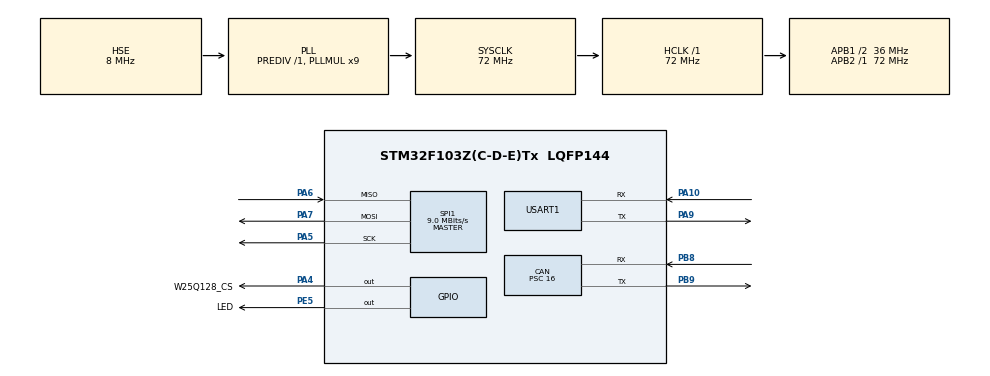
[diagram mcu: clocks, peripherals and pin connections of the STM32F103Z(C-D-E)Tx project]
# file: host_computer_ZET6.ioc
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CAN.ABOM=ENABLE
CAN.BS1=CAN_BS1_15TQ
CAN.BS2=CAN_BS2_2TQ
CAN.CalculateBaudRate=125000
CAN.CalculateTimeBit=8000
CAN.CalculateTimeQuantum=444.44444444444446
CAN.Mode=CAN_MODE_NORMAL
CAN.NART=ENABLE
CAN.Prescaler=16
CAN.RFLM=ENABLE
Dma.Request0=USART1_RX
Dma.USART1_RX.0.Direction=DMA_PERIPH_TO_MEMORY
Dma.USART1_RX.0.Instance=DMA1_Channel5
Dma.USART1_RX.0.MemDataAlignment=DMA_MDATAALIGN_BYTE
Dma.USART1_RX.0.MemInc=DMA_MINC_ENABLE
Dma.USART1_RX.0.Mode=DMA_CIRCULAR
Dma.USART1_RX.0.PeriphDataAlignment=DMA_PDATAALIGN_BYTE
Dma.USART1_RX.0.PeriphInc=DMA_PINC_DISABLE
Dma.USART1_RX.0.Priority=DMA_PRIORITY_LOW
Mcu.Family=STM32F1
Mcu.Name=STM32F103Z(C-D-E)Tx
Mcu.Package=LQFP144
NVIC.CAN1_SCE_IRQn=true\:0\:0\:false\:false\:true\:true\:true\:true
NVIC.DMA1_Channel5_IRQn=true\:0\:0\:false\:false\:true\:false\:true\:true
NVIC.PriorityGroup=NVIC_PRIORITYGROUP_4
NVIC.USART1_IRQn=true\:0\:0\:false\:false\:true\:true\:true\:true
NVIC.USB_LP_CAN1_RX0_IRQn=true\:0\:0\:false\:false\:true\:true\:true\:true
OSC_IN.Mode=HSE-External-Oscillator
OSC_IN.Signal=RCC_OSC_IN
OSC_OUT.Mode=HSE-External-Oscillator
OSC_OUT.Signal=RCC_OSC_OUT
PA10.GPIO_PuPd=GPIO_PULLUP
PA10.Mode=Asynchronous
PA10.Signal=USART1_RX
PA13.Mode=Serial_Wire
PA13.Signal=SYS_JTMS-SWDIO
PA14.Mode=Serial_Wire
PA14.Signal=SYS_JTCK-SWCLK
PA9.Mode=Asynchronous
PA9.Signal=USART1_TX
PA4.GPIO_Label=W25Q128_CS
PA4.GPIO_PuPd=GPIO_PULLUP
PA4.GPIO_Speed=GPIO_SPEED_FREQ_HIGH
PA4.PinState=GPIO_PIN_SET
PA4.Signal=GPIO_Output
PA5.Mode=Full_Duplex_Master
PA5.Signal=SPI1_SCK
PA6.Mode=Full_Duplex_Master
PA6.Signal=SPI1_MISO
PA7.Mode=Full_Duplex_Master
PA7.Signal=SPI1_MOSI
PB8.Mode=CAN_Activate
PB8.Signal=CAN_RX
PB9.Mode=CAN_Activate
PB9.Signal=CAN_TX
PC14-OSC32_IN.Mode=LSE-External-Oscillator
PC14-OSC32_IN.Signal=RCC_OSC32_IN
PC15-OSC32_OUT.Mode=LSE-External-Oscillator
PC15-OSC32_OUT.Signal=RCC_OSC32_OUT
PE5.GPIO_Label=LED
PE5.GPIO_ModeDefaultOutputPP=GPIO_MODE_OUTPUT_PP
PE5.GPIO_PuPd=GPIO_PULLUP
PE5.GPIO_Speed=GPIO_SPEED_FREQ_LOW
PE5.PinState=GPIO_PIN_SET
PE5.Signal=GPIO_Output
ProjectManager.HeapSize=0x200
ProjectManager.StackSize=0x400
ProjectManager.TargetToolchain=CMake
RCC.AHBFreq_Value=72000000
RCC.APB1CLKDivider=RCC_HCLK_DIV2
RCC.APB1Freq_Value=36000000
RCC.APB1TimFreq_Value=72000000
RCC.APB2Freq_Value=72000000
RCC.APB2TimFreq_Value=72000000
RCC.HCLKFreq_Value=72000000
RCC.PLLMUL=RCC_PLL_MUL9
RCC.PLLSourceVirtual=RCC_PLLSOURCE_HSE
RCC.SYSCLKFreq_VALUE=72000000
RCC.SYSCLKSource=RCC_SYSCLKSOURCE_PLLCLK
RCC.USBFreq_Value=72000000
SPI1.BaudRatePrescaler=SPI_BAUDRATEPRESCALER_8
SPI1.CalculateBaudRate=9.0 MBits/s
SPI1.Direction=SPI_DIRECTION_2LINES
SPI1.Mode=SPI_MODE_MASTER
SPI1.VirtualType=VM_MASTER
USART1.VirtualMode=VM_ASYNC
board=custom

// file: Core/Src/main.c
/* USER CODE BEGIN Header */
/**
  ******************************************************************************
  * @file           : main.c
  * @brief          : Main program body
  ******************************************************************************
  * @attention
  *
  * Copyright (c) 2026 STMicroelectronics.
  * All rights reserved.
  *
  * This software is licensed under terms that can be found in the LICENSE file
  * in the root directory of this software component.
  * If no LICENSE file comes with this software, it is provided AS-IS.
  *
  ******************************************************************************
  */
/* USER CODE END Header */
#include "main.h"
#include "dma.h"
#include "spi.h"
#include "usart.h"
#include "gpio.h"
#include "can.h"            /* hcan：CAN 句柄由 CubeMX 生成，.ioc 已启用 CAN */

/* USER CODE BEGIN Includes */
#include <string.h>
#include "board.h"
#include "uart_app.h"
#include "ota_app.h"		/* 串口数据攒成 4KB 扇区后写外部 Flash */
#include "w25q.h"			/* 外部 Flash；spi.h 已由上方 CubeMX 生成区包含 */
#include "ota_slot.h"		/* 槽 A 头部：长度/CRC 在收尾时最后写入 */
#include "ota_param.h"		/* 只用来解析上位机补发的 12 字节尾部记录 */
#include "crc32.h"			/* 2026-11-26：空闲自动收尾时从 W25Q 读回数据算 CRC */
#include "ota_log.h"		/* 黑匣子：17:36 起不再记复位、也不再倒出 [log] 历史，
						   只剩接收循环里那条 OTA_MODE 事件（当前无任何地方打印它） */
#include "can_drv.h"		/* CAN：收 0x581 下位机查询 / 发 0x601 应答；阶段 1 握手 */
/* USER CODE END Includes */

/* USER CODE BEGIN PD */

/* 串口超过这么多毫秒没有新数据，就把还不足一扇区的尾巴也写进外部 Flash。
 * 否则最后一扇区（比如最后 928 字节）会永远留在 RAM 里写不下去。 */
#define OTA_IDLE_FLUSH_MS   2000U

/* ==================== CAN OTA 会话层：阶段 1 查询应答 ====================
 * 方向与 C8T6 侧对应：下位机按键后发 0x581(QUERY)，本侧收；本侧查完槽 A 后发
 * 0x601(REPLY)。两侧过滤器天然匹配（本侧只收 0x581），驱动不用改。
 * REPLY 帧：B0=0x11 B1=有/无(1/0) B2B3=长度(uint16小端) B4~B7=CRC低32位小端。
 * "有新程序"的判据：OtaSlot_ReadHeader(OTA_SLOT_A) == OTA_SLOT_OK，
 * 即上次串口收 bin 时 FinishOta 回读校验通过、槽头已写——只有完整固件才会写头。
 * 阶段 1 只报有无，不发固件、不改槽头 flags。 */
#define OTA_CAN_OP_QUERY     0x10U
#define OTA_CAN_OP_REPLY     0x11U
#define OTA_CAN_OP_UPDATE_REQ 0x12U      /* 下位机确认要这份：回显长度+CRC */
#define OTA_CAN_OP_DATA      0x13U      /* 分帧数据：B1B2=seq B3~B7=5B 数据 */
#define OTA_CAN_OP_ACK       0x14U      /* 下位机块确认：B1B2=最后 seq B3=0 正常/非0 请求停 */
#define OTA_CAN_PROTO_VER    0x01U
#define OTA_CAN_REPLY_TIMEOUT_MS  100U   /* 等邮箱腾空；无 ACK 时不让主循环卡死 */

/* 阶段 2 分帧参数：必须与 C8T6 侧 main.c 逐字一致，否则双方对不上 */
#define OTA_CAN_DATA_BYTES   5U         /* DATA 帧载荷：B3~B7 */
#define OTA_CAN_BLOCK_FRAMES 16U        /* 每 16 帧等一次 ACK；给下位机留出擦写空窗 */
#define OTA_CAN_ACK_TIMEOUT_MS 1500U    /* 等 ACK 超时：>下位机最坏 400ms 擦写 + 传输余量 */
#define OTA_CAN_SEND_GAP_MS  1U         /* 块内帧间延时：给下位机主循环留出取队列的时间 */

/* 上位机发送状态机：IDLE -> SENDING(正在分帧发槽 A) */
#define OTA_TX_ST_IDLE       0U
#define OTA_TX_ST_SENDING    1U

/* 2026-11-26：CAN 周期测试帧已整体移除（宏、序号变量、主循环发送段）。
 * 原因：用户要求不再持续发送——1Hz 测试帧会一直占用总线、持续刷串口日志，
 *       干扰后续的串口落盘观察。物理层已在 11-25 22:05 验证通过（125k，ESR=0），
 *       不再需要常驻心跳。
 * 副作用/注意：CanDrv_Send() 与 CAN 初始化仍保留，外设停在就绪态；
 *             以后需要发帧时由调用方显式给超时参数，不依赖这里的宏。 */

/* 2026-11-25 17:36：复位原因快照（RST_CAUSE_* 宏、s_rst_cause、ResetCause_Snapshot()）
   全部删除。用户要求"不记录复位记录"，而这些代码的唯一用途就是给黑匣子填一笔
   RST_* 事件 + 开机打 [rst] 行；两处都已去掉，留着只会变成死代码/未使用警告。
   副作用：RCC->CSR 的复位标志不再被清除，也无人读取——对运行没有任何影响
   （标志只是累积在原地）。以后若要恢复"看复位原因"，得从 RCC->CSR 重新取。 */

/* USER CODE END PD */

/* USER CODE BEGIN PV */
/* 从串口取数据的临时区。放静态区：512 字节压栈太靠近 1KB 栈底。
   攒扇区缓冲已经搬进 ota_app.c，main 里不再需要 s_page。 */
static uint8_t s_rx[512];

/* 2026-11-25：本次上电是否已经开始接收。第一包数据到达时才擦槽 A 头部，
   这样"没收到新数据"时，上次保存好的槽 A 内容不会被开机动作破坏，
   后续才能经 CAN 把已存内容发出去。 */
static uint8_t s_ota_started = 0U;

/* 2026-11-26：本次上电是否已经"收尾"过（收到合法 OTAE 尾部 / 空闲自动写槽头，二者其一）。
   为什么要它：串口助手认不出 ZET6 的 [recv] 就绪日志，会判成老协议而不发 12 字节尾部；
   空闲自动收尾是为了兜住这种情况。但一旦尾部来过，哪怕 FinishOta 校验失败，
   也不能让空闲路径把这份坏数据扶正成有效槽 —— 标志就是这两条路径的互斥锁。 */
static uint8_t s_tail_seen = 0U;

/* ===== 阶段 2：CAN 分帧发送状态（把槽 A 的 bin 发给下位机） ===== */
static uint8_t  s_tx_st = OTA_TX_ST_IDLE;     /* 发送状态 */
static uint32_t s_tx_addr;                    /* 当前读到 W25Q 的哪个地址（槽 A 数据区相对地址） */
static uint32_t s_tx_left;                    /* 还剩多少字节没发 */
static uint16_t s_tx_seq;                     /* 当前帧序号，发完自增 */
static uint16_t s_tx_total_frame;             /* 总帧数 = ceil(len/5) */
static uint16_t s_tx_block_cnt;               /* 本块已发帧数，满 16 就停下来等 ACK */
static uint32_t s_tx_ack_tick;                /* 等 ACK 的起点，超时保护 */
static uint8_t  s_tx_wait_ack;                /* 1=本块发完，正在等下位机 ACK */
/* USER CODE END PV */

void SystemClock_Config(void);

/* USER CODE BEGIN 0 */

/**
  * 函    数：FinishOta
  * 功    能：收到尾部记录后的收尾：Flush → 长度比对 → 回读校验 → 写槽 A 头部
  * 说    明：2026-11-25 改写。原来这里是"校验片内 Flash → 存参数 → 跳 App"，
  *           本工程不再跳 App，也不写片内 Flash；数据就是待发送内容，
  *           存在槽 A，头部最后写，写完这份数据就算可用。
  *           任何一步失败都 return，板子继续停在串口接收循环等重传。
  */
static void FinishOta(const OtaTail_t *tail)
{
	OtaSlotHeader_t hdr;
	int8_t          vr;

	Uart_Printf(UART_LOG, "[ota] 尾部：长度=%lu CRC=0x%08lX\r\n",
				(unsigned long)tail->length, (unsigned long)tail->crc32);

	/* 先把 RAM 里攒着的尾巴写出去。不 Flush 的话外部 Flash 里缺结尾一段，
	   下面读回来算的 CRC 必然对不上 */
	if(Ota_Flush() != OTA_OK)
	{
		Uart_Printf(UART_LOG, "[ota] 落盘失败\r\n");
		return;
	}

	if(Ota_Total() != tail->length)
	{
		Uart_Printf(UART_LOG, "[ota] 长度不符：收到 %lu，应为 %lu\r\n",
					(unsigned long)Ota_Total(),
					(unsigned long)tail->length);
		return;
	}

	/* 头部先在 RAM 里构造好，用它校验外部 Flash 里的数据区。
	   OtaSlot_VerifyData 是"读回来算"—— 能证明 SPI 写进去的内容是对的，
	   只信边收边算的 CRC 证明不了这一点。 */
	OtaSlot_BuildHeader(&hdr, 0U, tail->length, tail->crc32, 0U, 0U);
	vr = OtaSlot_VerifyData(OTA_SLOT_A, &hdr);
	if(vr != 1)
	{
		Uart_Printf(UART_LOG, "[ota] 外部 Flash 校验失败（%d）\r\n", (int)vr);
		return;
	}
	Uart_Printf(UART_LOG, "[ota] 校验通过 %luB\r\n", (unsigned long)tail->length);

	/* 头部最后写：写完它就等于"这份数据完整且校验通过"，
	   将来从 CAN 发出时可以直接拿头部里的长度/CRC */
	if(OtaSlot_WriteHeader(OTA_SLOT_A, &hdr) != OTA_SLOT_OK)
	{
		Uart_Printf(UART_LOG, "[ota] 槽 A 头部写入失败\r\n");
		return;
	}

	Uart_Printf(UART_LOG, "[ota] 槽 A 已保存：%luB CRC=0x%08lX\r\n",
				(unsigned long)tail->length, (unsigned long)tail->crc32);
}

/**
  * 函    数：HandleRx
  * 功    能：统一处理收到的一包数据
  * 返 回 值：1 = 这包是尾部记录（收尾流程已接管）
  *           0 = 普通数据，已喂给 ota_app 写外部 Flash
  */
static uint8_t HandleRx(const uint8_t *buf, uint32_t len)
{
	OtaTail_t tail;
	uint32_t  i;
	uint32_t  total = Ota_Total() + Ota_Fill();

	/* 在整个数据块里找尾部记录，而不是只看块首。
	   串口是流式的：上位机发完最后一块会紧接着发尾部，
	   一次 Uart_Read 完全可能把「末尾若干字节 + 12 字节尾部」合并成一块。
	   只看块首的话 magic 根本不在开头，这 12 字节会被当成数据写进 Flash。 */
	for(i = 0U; (i + OTA_TAIL_BYTES) <= len; i++)
	{
		/* recv_total 传 total + i：扫到第 i 字节时，这 i 字节还没落盘 */
		if(Ota_ParseTail(&buf[i], OTA_TAIL_BYTES, total + i, &tail) != 0U)
		{
			/* 2026-11-26：尾部来过就锁死空闲自动收尾，无论 FinishOta 后续成功与否。
			   否则"尾部 CRC 对不上 → FinishOta 提前 return → 2 秒空闲又把坏数据写成有效槽"，
			   等于把校验失败静默改成成功，是最危险的失效方式。 */
			s_tail_seen = 1U;

			if(i > 0U)
			{
				if(Ota_Feed(buf, i) != OTA_OK)
				{
					Uart_Printf(UART_LOG, "[ota] 尾部之前写入失败\r\n");
					return 1U;
				}
			}
			FinishOta(&tail);
			return 1U;
		}
	}

	/* 槽 A 数据区只有 508KB，越过就会踩到槽 B —— 宁可报错也不越界 */
	if((Ota_Total() + Ota_Fill() + len) > OTA_SLOT_DATA_MAX)
	{
		Uart_Printf(UART_LOG, "[ota] 溢出：%lu > %lu\r\n",
					(unsigned long)(Ota_Total() + Ota_Fill() + len),
					(unsigned long)OTA_SLOT_DATA_MAX);
		return 1U;
	}

	if(Ota_Feed(buf, len) != OTA_OK)
	{
		Uart_Printf(UART_LOG, "[ota] 写 0x%08lX 失败，累计 %lu\r\n",
					(unsigned long)Ota_Addr(), (unsigned long)Ota_Total());
	}
	return 0U;
}

/**
 * 函    数：CalcSlotDataCrc —— 从 W25Q 分块读回槽数据算 CRC32
 * 参    数：addr W25Q 内部地址；len 字节数；out_crc 输出算出的 CRC32
 * 返 回 值：0 = 成功，负数 = SPI 读失败（此时 *out_crc 不可用）
 * 为什么不用 Crc32_Flash()：那函数用 *(volatile const uint8_t*)addr 直接解引用，
 *   只对能内存映射(XIP)的片内 Flash 成立。W25Q 是 SPI 外挂、不支持 XIP，
 *   OtaSlot_DataAddr() 返回的 0x001000 是 W25Q 内部地址，直接解引用读到的
 *   其实是 STM32 地址空间里别的位置（本例落在片内 Flash 别名区），
 *   算出来的 CRC 与固件内容毫无关系 —— 2026-11-26 就踩过这个坑。
 * 为什么要分块：槽最大 508KB，F103 RAM 有限，不能一次读进内存。
 *   算法与 ota_slot.c::OtaSlot_VerifyData 一致（Crc32_Update 分段累计 + 最后取反），
 *   保证这里算出的值和上位机 zlib.crc32 口径相同。
 */
static int8_t CalcSlotDataCrc(uint32_t addr, uint32_t len, uint32_t *out_crc)
{
	static uint8_t s_buf[W25Q_PAGE_SIZE];	/* 静态区不进栈，复用一块 256B */
	uint32_t crc = CRC32_INIT;
	uint32_t left = len;

	if(out_crc == NULL)
	{
		return -1;
	}
	while(left > 0U)
	{
		uint32_t chunk = (left > W25Q_PAGE_SIZE) ? W25Q_PAGE_SIZE : left;

		if(W25q_Read(addr, s_buf, chunk) != W25Q_OK)
		{
			return -1;
		}
		crc = Crc32_Update(crc, s_buf, chunk);
		addr += chunk;
		left -= chunk;
	}
	*out_crc = ~crc;	/* Crc32_Update 不做最终取反，这里补上，与 Crc32_Buf 一致 */
	return 0;
}

/**
 * 发一帧 DATA：从槽 A 的当前读位置取 5 字节，seq 填 B1B2，凑满 8 字节发出。
 * 为什么用 W25q_Read 而不是内存缓冲：槽 A 最大 508KB，RAM 放不下，只能边读边发。
 * 末帧不足 5 字节时补 0 —— 下位机按 REPLY 里的长度裁掉填充，不会多写字节。
 */
static int8_t OtaCan_SendDataFrame(uint16_t seq)
{
	uint8_t  frame[8];
	uint32_t chunk;
	int8_t   r;

	chunk = (s_tx_left > OTA_CAN_DATA_BYTES) ? OTA_CAN_DATA_BYTES : s_tx_left;

	frame[0] = OTA_CAN_OP_DATA;
	frame[1] = (uint8_t)(seq & 0xFFU);
	frame[2] = (uint8_t)((seq >> 8) & 0xFFU);
	frame[3] = 0U; frame[4] = 0U; frame[5] = 0U; frame[6] = 0U; frame[7] = 0U;

	if(chunk > 0U)
	{
		if(W25q_Read(s_tx_addr, &frame[3], chunk) != W25Q_OK)
		{
			return -1;    /* 读槽失败，绝对不能发全 0 冒充数据 */
		}
	}

	r = CanDrv_Send(CANDRV_ID_REQ, frame, (uint8_t)sizeof(frame), OTA_CAN_REPLY_TIMEOUT_MS);
	if(r != CANDRV_OK)
	{
		return r;
	}

	s_tx_addr += chunk;
	s_tx_left -= chunk;
	return CANDRV_OK;
}

/**
 * 处理一帧 ACK（由主循环的统一分发点喂进来，不在这里取队列）。
 * 为什么不能再开一个 while 取队列：CAN 只有一个接收队列，两处同时取会互相吞帧。
 * 校验 ACK 的 seq 必须是本块最后一帧，防止上一块的迟到 ACK 被误认。
 * 返回 1=正常可发下一块；-1=下位机报错中止；0=不是 ACK。
 */
static int8_t OtaCan_OnAck(const can_drv_frame_t *f)
{
	uint16_t got;

	if((f->id != CANDRV_ID_RSP) || (f->dlc < 4U) || (f->data[0] != OTA_CAN_OP_ACK))
	{
		return 0;
	}
	got = (uint16_t)((uint16_t)f->data[1] | ((uint16_t)f->data[2] << 8));
	if((f->data[3] != 0U) || (got != (uint16_t)(s_tx_seq - 1U)))
	{
		Uart_Printf(UART_LOG, "[can] ACK 异常 seq=%u err=%u，下发中止\r\n",
					(unsigned int)got, (unsigned int)f->data[3]);
		return -1;
	}
	return 1;
}

/* USER CODE END 0 */

int main(void)
{

  /* MCU Configuration--------------------------------------------------------*/

  /* Reset of all peripherals, Initializes the Flash interface and the Systick. */
  HAL_Init();

  /* Configure the system clock */
  SystemClock_Config();

  /* Initialize all configured peripherals */
  MX_GPIO_Init();
  MX_DMA_Init();
  MX_USART1_UART_Init();
  /* 2026-11-25：补上 CAN 外设初始化。漏掉时 hcan 一直停在 RESET 态，
     后面的 CanDrv_Init() 会在状态检查处直接返回 -2，日志只显示 init FAIL。 */
  MX_CAN_Init();
  /* 2026-11-25：按野火 ZET6 核心板规格书，板载 W25Q 在 SPI1(PA4~PA7)。 */
  MX_SPI1_Init();
  /* USER CODE BEGIN 2 */
  Uart_Init();

	/* 【阶段 1b】ZET6 侧 CAN 真实收发（2026-11-25 改动：由回环改为往总线发）
	   参数由 .ioc 生成（本轮 .ioc 的 CAN.Mode 已由 LOOPBACK 改成 NORMAL），
	   CanDrv_Init() 仍只做读回校验 + 配过滤器 + Start + 激活中断；
	   错误码：-2 状态 / -6 位时序 / -7 CAN RX0 中断未使能。
	   回环分支保留：将来若把 .ioc 改回 LOOPBACK（比如没有第二节点时自测），这段仍然可用。 */
	{
		int8_t cr = CanDrv_Init();

		if(cr == CANDRV_OK)
		{
			Uart_Printf(UART_LOG, "[can] init OK, %lu bps, sample %u.%u%%, %s\r\n",
						(unsigned long)CanDrv_ActualBaudrate(),
						(unsigned int)(CanDrv_ActualSamplePointPermille() / 10U),
						(unsigned int)(CanDrv_ActualSamplePointPermille() % 10U),
						(CanDrv_GetMode() == CANDRV_MODE_LOOPBACK) ? "loopback" : "normal");

			if(CanDrv_GetMode() == CANDRV_MODE_LOOPBACK)
			{
				int8_t sr = CanDrv_SelfTest();

				Uart_Printf(UART_LOG, "[can] loopback self-test %s (tx=%lu ovf=%lu err=%lu bof=%lu)\r\n",
							(sr == CANDRV_OK) ? "PASS" : "FAIL",
							(unsigned long)CanDrv_TxOkCount(),
							(unsigned long)CanDrv_RxOverflowCount(),
							(unsigned long)CanDrv_ErrorCount(),
							(unsigned long)CanDrv_BusOffCount());
			}
			else
			{
				/* Normal 模式不跑开机自测：那会发一帧已知内容等回环，真实总线上
				   没有对端配合时只会得到误导性的 FAIL。周期测试帧已于 2026-11-26 移除，
				   现在 CAN 只保持"初始化完成、随时可发"的状态，不再自动占总线。 */
				Uart_Printf(UART_LOG, "[can] normal mode: 接收就绪，不主动发帧\r\n");
			}
		}
		else
		{
			Uart_Printf(UART_LOG, "[can] init FAIL code=%d\r\n", (int)cr);
		}
	}

  // Led_Fan(1);

	/* ---------- 外部 Flash 自检 ----------
	   串口数据要落到 W25Q 槽 A，所以先确认 SPI1 链路是通的：
	   看到 0xEF4017 就说明接线/时序/片选都对。 */
	{
		uint32_t w25q_id = 0xFFFFFFFFUL;

		if(W25q_Init(&hspi1, W25Q128_CS_GPIO_Port, W25Q128_CS_Pin) == W25Q_OK)
		{
			w25q_id = W25q_ReadId();
		}
		Uart_Printf(UART_LOG, "[boot] W25Q 芯片ID=0x%06lX %s，应为 0x%06lX\r\n",
					(unsigned long)w25q_id,
					(w25q_id == W25Q_JEDEC_ID) ? "正常" : "异常",
					(unsigned long)W25Q_JEDEC_ID);
	}

	/* 2026-11-25 17:36：黑匣子的"倒出历史（[log] 最近 N 条）"与"追加本次复位事件"
	   一并删除（用户要求）。注意 ota_log 模块本身仍在编译：接收循环开始新传输时会
	   记一条 OTA_MODE 事件，只是已经没有任何地方把它打印出来了。 */

	/* 2026-11-25 17:30：槽状态只读打印（[slot] A/B + 十六进制转储）整块删除。
	   槽头部仍由 ota_slot.c 读写（FinishOta 校验/写头要用），只是开机不再刷屏。
	   要看槽内容时，收尾日志里的 [ota] 槽 A 已保存 已经带长度和 CRC。 */

	/* 2026-11-25：不再有上电窗口、不再跳 App，开机就停在接收循环。
	   Ota_Init 先设一次起点；真正开始接收时还会重设一次并擦掉旧头部。 */
	Ota_Init(OtaSlot_DataAddr(OTA_SLOT_A));

	Uart_Printf(UART_LOG, "\r\n[recv] 就绪，外部 Flash 槽A 数据起点=0x%08lX，容量=%luB，协议=2\r\n",
				(unsigned long)OtaSlot_DataAddr(OTA_SLOT_A),
				(unsigned long)OTA_SLOT_DATA_MAX);

	uint16_t len;						/* 这次从串口取到多少字节 */
	uint32_t last_rx = Board_Millis();	/* 最后一次收到数据的时刻 */

	/* 2026-11-26：can_tx_tick / can_tx_seq 随周期测试帧一并删除。
	   保留 last_rx 供串口空闲 Flush 使用。 */
  /* USER CODE END 2 */

  /* Infinite loop */
  while (1)
  {

    /* USER CODE BEGIN 3 */
	len = Uart_Read(UART_LOG, s_rx, sizeof(s_rx));	/* 取到 0 表示这段时间没有新数据 */

	if(len > 0U)
	{
		last_rx = Board_Millis();

		/* 本次上电的第一包数据 = 新一次传输开始。
		   先擦槽 A 头部让旧内容失效，再从数据区起点重写；
		   擦头部是这个流程里唯一会破坏已有数据的动作，所以只在这里做一次。 */
		if(s_ota_started == 0U)
		{
			(void)OtaSlot_EraseHeader(OTA_SLOT_A);
			Ota_Init(OtaSlot_DataAddr(OTA_SLOT_A));
			s_ota_started = 1U;
			(void)OtaLog_Append(OTA_LOG_EVT_OTA_MODE, 0U, 0U, (uint32_t)len);
			Uart_Printf(UART_LOG, "[recv] 开始接收 槽A 0x%08lX\r\n",
						(unsigned long)OtaSlot_DataAddr(OTA_SLOT_A));
		}

		/* 攒扇区 + 落盘藏在 Ota_Feed 里；先分辨这包是不是尾部记录 */
		HandleRx(s_rx, len);
	}
	else if((s_ota_started != 0U) && (s_tail_seen == 0U) &&
			(Ota_Total() > 0U) && (Timer_Timeout(&last_rx, OTA_IDLE_FLUSH_MS) != 0U))
	{
		/* 2026-11-26：空闲自动收尾（替代缺失的 OTAE 尾部记录）。
		   为什么加：串口助手靠 [ota] ready...proto=2 判协议，ZET6 打的是 [recv] 就绪，
		   匹配不上就当老协议、不发尾部，结果数据写全了却没写槽头，CAN 查询永远 reply NO。
		   2 秒无新数据就当作"这一包传完了"：先把不足一扇区的尾巴落盘，
		   再从 W25Q 读回数据算 CRC 并写槽头，效果和收到尾部记录一样。

		   触发条件为什么从 Ota_Fill()>0 改成 Ota_Total()>0：
		   最后一段若刚好凑满 4096 被 Ota_Feed 直接落盘，Ota_Fill()==0，
		   旧条件会让分支进不去、槽头漏写（偶发 reply NO，很难查）。

		   取舍（必须知道）：CRC 是"从 Flash 读回自己算"，不是上位机给的独立校验源，
		   只能证明落盘内容稳定，证明不了串口传输过程没丢字节；
		   另外传一半断线也会被当成完整固件 —— 要堵这个洞得加长度预声明。
		   2026-11-26 修复：原实现用 Crc32_Flash() 直接解引用地址算 CRC，那是给片内
		   XIP Flash 用的；W25Q 走 SPI、不支持内存映射，算出来是片内别处的 CRC
		   （实机得到 0x9C69185F，与真实 bin 的 0x91C2B6C8 不符）。改用 CalcSlotDataCrc()
		   经 W25q_Read 分块读回再算，才和上位机 zlib 口径一致。 */
		if(Ota_Flush() == OTA_OK)
		{
			uint32_t n = Ota_Total();
			uint32_t crc = 0U;
			OtaSlotHeader_t hdr;

			if(CalcSlotDataCrc(OtaSlot_DataAddr(OTA_SLOT_A), n, &crc) == 0)
			{
				OtaSlot_BuildHeader(&hdr, 0U, n, crc, 0U, 0U);
				if(OtaSlot_WriteHeader(OTA_SLOT_A, &hdr) == OTA_SLOT_OK)
				{
					Uart_Printf(UART_LOG, "[ota] 自动收尾：槽 A 已保存 %luB CRC=0x%08lX\r\n",
								(unsigned long)n, (unsigned long)crc);
				}
				else
				{
					Uart_Printf(UART_LOG, "[ota] 自动收尾：槽 A 头部写入失败\r\n");
				}
			}
			else
			{
				/* 读回失败就不写槽头：宁可 CAN 查询回"无"，也不能广播一个错 CRC */
				Uart_Printf(UART_LOG, "[ota] 自动收尾：读回 CRC 失败，槽头未写\r\n");
			}
		}
		else
		{
			Uart_Printf(UART_LOG, "[ota] 自动收尾：尾巴落盘失败\r\n");
		}
		s_tail_seen = 1U;	/* 只做一次，避免每 2 秒重复写同一个扇区耗寿命 */
	}

	/* ---------- CAN 统一分发（阶段 1 查询 + 阶段 2 分帧下发） ----------
	   只有一个接收队列，所有 0x581 帧必须在这里一次性取干净、按 opcode 分发：
	     QUERY       -> 查槽 A 头，回 REPLY（有/无 + 长度 + CRC）
	     UPDATE_REQ  -> 校验回显的长度/CRC 与槽头一致，启动分帧发送
	     ACK         -> 交 OtaCan_OnAck，放行下一块 / 报错中止
	   ⚠ 每圈取干净：队列深度只有 8，发送时若压着不取，ACK 会被后面的帧挤掉。 */
	{
		can_drv_frame_t f;

		while(CanDrv_RxPop(&f) == CANDRV_OK)
		{
			if((f.id == CANDRV_ID_RSP) && (f.dlc == 8U) && (f.data[0] == OTA_CAN_OP_QUERY))
			{
				OtaSlotHeader_t hdr;
				int8_t hs = OtaSlot_ReadHeader(OTA_SLOT_A, &hdr);
				uint8_t rep[8];
				int8_t sr;

				rep[0] = OTA_CAN_OP_REPLY;
				rep[1] = (hs == OTA_SLOT_OK) ? 1U : 0U;   /* 有/无新程序 */
				rep[2] = (uint8_t)(hdr.fw_len & 0xFFU);   /* 长度只取 16 位：当前 bin 约 20KB，够用 */
				rep[3] = (uint8_t)(hdr.fw_len >> 8);
				rep[4] = (uint8_t)(hdr.fw_crc & 0xFFU);   /* CRC 低 32 位，小端 */
				rep[5] = (uint8_t)((hdr.fw_crc >> 8)  & 0xFFU);
				rep[6] = (uint8_t)((hdr.fw_crc >> 16) & 0xFFU);
				rep[7] = (uint8_t)((hdr.fw_crc >> 24) & 0xFFU);

				sr = CanDrv_Send(CANDRV_ID_REQ, rep, (uint8_t)sizeof(rep), OTA_CAN_REPLY_TIMEOUT_MS);

				Uart_Printf(UART_LOG, "[can] query from host: slot A %s, reply %s %s (len=%luB crc=0x%08lX)\r\n",
							(hs == OTA_SLOT_OK) ? "valid" : "none",
							(rep[1] != 0U) ? "YES" : "NO",
							(sr == CANDRV_OK) ? "sent" : "FAIL",
							(unsigned long)hdr.fw_len, (unsigned long)hdr.fw_crc);
			}
			else if((f.id == CANDRV_ID_RSP) && (f.dlc == 8U) &&
					(f.data[0] == OTA_CAN_OP_UPDATE_REQ) && (s_tx_st == OTA_TX_ST_IDLE))
			{
				OtaSlotHeader_t hdr;
				uint32_t want_len = (uint32_t)f.data[2] | ((uint32_t)f.data[3] << 8);
				uint32_t want_crc = (uint32_t)f.data[4] | ((uint32_t)f.data[5] << 8) |
									((uint32_t)f.data[6] << 16) | ((uint32_t)f.data[7] << 24);
				int8_t hs = OtaSlot_ReadHeader(OTA_SLOT_A, &hdr);

				/* 回显校验：下位机要的必须正是槽头这份。防止查询与请求之间槽被重传覆盖，
				   导致下位机拿 A 的 CRC 去校验 B 的内容，白传一遍还判失败。 */
				if((hs != OTA_SLOT_OK) || (hdr.fw_len != want_len) || (hdr.fw_crc != want_crc))
				{
					Uart_Printf(UART_LOG, "[can] UPDATE_REQ 不匹配槽 A (len=%lu crc=0x%08lX)，忽略\r\n",
								(unsigned long)want_len, (unsigned long)want_crc);
					continue;
				}

				s_tx_addr        = OtaSlot_DataAddr(OTA_SLOT_A);
				s_tx_left        = hdr.fw_len;
				s_tx_seq         = 0U;
				s_tx_total_frame = (uint16_t)((hdr.fw_len + OTA_CAN_DATA_BYTES - 1U) / OTA_CAN_DATA_BYTES);
				s_tx_block_cnt   = 0U;
				s_tx_wait_ack    = 0U;
				s_tx_ack_tick    = Board_Millis();
				s_tx_st          = OTA_TX_ST_SENDING;

				Uart_Printf(UART_LOG, "[ota] 开始下发 %luB / %u 帧 (crc=0x%08lX)\r\n",
							(unsigned long)hdr.fw_len, (unsigned int)s_tx_total_frame,
							(unsigned long)hdr.fw_crc);
			}
			else if((f.id == CANDRV_ID_RSP) && (s_tx_st == OTA_TX_ST_SENDING))
			{
				int8_t ar = OtaCan_OnAck(&f);

				if(ar < 0)
				{
					Uart_Printf(UART_LOG, "[ota] 下发中止：ACK 报错\r\n");
					s_tx_st = OTA_TX_ST_IDLE;
				}
				else if(ar > 0)
				{
					/* 收尾 ACK：下位机已 Finish+写 PENDING。会话到此结束。
					   注意 C8T6 只在收齐那一帧回一次 ACK，所以这是最后一帧的确认。 */
					if(s_tx_seq >= s_tx_total_frame)
					{
						Uart_Printf(UART_LOG, "[ota] 下发完成：%luB / %u 帧，下位机校验通过\r\n",
									(unsigned long)(s_tx_total_frame * OTA_CAN_DATA_BYTES),
									(unsigned int)s_tx_total_frame);
						s_tx_st = OTA_TX_ST_IDLE;
					}
					else
					{
						s_tx_wait_ack  = 0U;
						s_tx_block_cnt = 0U;
					}
				}
			}
		}
	}

	/* ---------- 分帧发送推进（非阻塞，每圈最多发 1 帧） ----------
	   为什么每圈只发一帧：主循环要持续取 CAN 队列（收 ACK）和串口数据。
	   若一整块在一个循环里连发，期间收不到 ACK 也取不到新查询，等价于卡死等待。
	   块级流控：发满 OTA_CAN_BLOCK_FRAMES 帧就停下等 ACK，ACK 到了才发下一块。 */
	if(s_tx_st == OTA_TX_ST_SENDING)
	{
		if(s_tx_wait_ack != 0U)
		{
			/* 等 ACK 超时：下位机可能写 Flash 失败或掉线，别永远挂着 */
			if(Timer_Timeout(&s_tx_ack_tick, OTA_CAN_ACK_TIMEOUT_MS) != 0U)
			{
				Uart_Printf(UART_LOG, "[ota] 下发中止：等 ACK 超时 (seq=%u)\r\n",
							(unsigned int)s_tx_seq);
				s_tx_st = OTA_TX_ST_IDLE;
			}
		}
		else if(s_tx_seq < s_tx_total_frame)
		{
			int8_t sr = OtaCan_SendDataFrame(s_tx_seq);

			if(sr != CANDRV_OK)
			{
				Uart_Printf(UART_LOG, "[ota] 下发中止：发帧 FAIL=%d seq=%u\r\n",
							(int)sr, (unsigned int)s_tx_seq);
				s_tx_st = OTA_TX_ST_IDLE;
			}
			else
			{
				s_tx_seq++;
				s_tx_block_cnt++;

				if(s_tx_block_cnt >= OTA_CAN_BLOCK_FRAMES)
				{
					s_tx_wait_ack  = 1U;
					s_tx_ack_tick  = Board_Millis();
				}
				else if(s_tx_seq >= s_tx_total_frame)
				{
					/* 最后未满一块：也必须进等 ACK 态，等下位机 Finish 的收尾确认。
					   若漏掉这一步，收尾 ACK 会被当普通帧丢弃，状态机永远停在 SENDING。 */
					s_tx_wait_ack  = 1U;
					s_tx_ack_tick  = Board_Millis();
				}
				else
				{
					/* 块内帧间让出一圈：下位机主循环要取队列 + W25Q 攒扇区 */
					Delay_Ms(OTA_CAN_SEND_GAP_MS);
				}
			}
		}
	}
  }
  /* USER CODE END 3 */
}

void SystemClock_Config(void)
{
  RCC_OscInitTypeDef RCC_OscInitStruct = {0};
  RCC_ClkInitTypeDef RCC_ClkInitStruct = {0};

  /** Initializes the RCC Oscillators according to the specified parameters
  * in the RCC_OscInitTypeDef structure.
  */
  RCC_OscInitStruct.OscillatorType = RCC_OSCILLATORTYPE_HSE;
  RCC_OscInitStruct.HSEState = RCC_HSE_ON;
  RCC_OscInitStruct.HSEPredivValue = RCC_HSE_PREDIV_DIV1;
  RCC_OscInitStruct.HSIState = RCC_HSI_ON;
  RCC_OscInitStruct.PLL.PLLState = RCC_PLL_ON;
  RCC_OscInitStruct.PLL.PLLSource = RCC_PLLSOURCE_HSE;
  RCC_OscInitStruct.PLL.PLLMUL = RCC_PLL_MUL9;
  if (HAL_RCC_OscConfig(&RCC_OscInitStruct) != HAL_OK)
  {
    Error_Handler();
  }

  /** Initializes the CPU, AHB and APB buses clocks
  */
  RCC_ClkInitStruct.ClockType = RCC_CLOCKTYPE_HCLK|RCC_CLOCKTYPE_SYSCLK
                              |RCC_CLOCKTYPE_PCLK1|RCC_CLOCKTYPE_PCLK2;
  RCC_ClkInitStruct.SYSCLKSource = RCC_SYSCLKSOURCE_PLLCLK;
  RCC_ClkInitStruct.AHBCLKDivider = RCC_SYSCLK_DIV1;
  RCC_ClkInitStruct.APB1CLKDivider = RCC_HCLK_DIV2;
  RCC_ClkInitStruct.APB2CLKDivider = RCC_HCLK_DIV1;

  if (HAL_RCC_ClockConfig(&RCC_ClkInitStruct, FLASH_LATENCY_2) != HAL_OK)
  {
    Error_Handler();
  }
}

void Error_Handler(void)
{
  __disable_irq();
  while (1)
  {
  }
}
